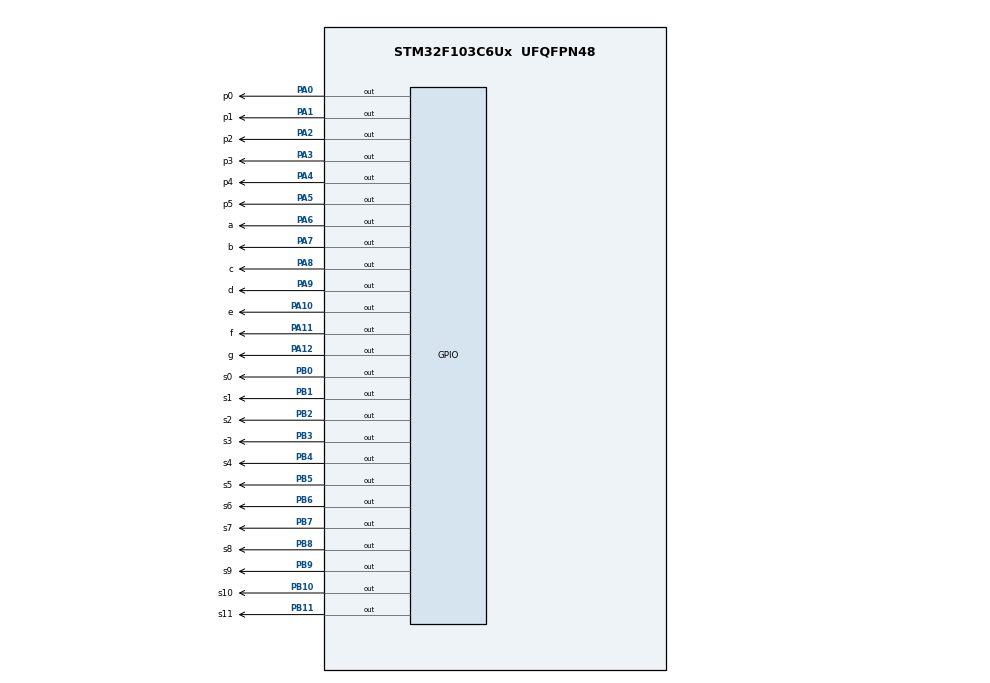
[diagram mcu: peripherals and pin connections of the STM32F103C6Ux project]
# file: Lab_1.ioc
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Mcu.Family=STM32F1
Mcu.Name=STM32F103C6Ux
Mcu.Package=UFQFPN48
NVIC.PriorityGroup=NVIC_PRIORITYGROUP_4
PA0-WKUP.GPIO_Label=p0
PA0-WKUP.Signal=GPIO_Output
PA1.GPIO_Label=p1
PA1.Signal=GPIO_Output
PA10.GPIO_Label=e
PA10.Signal=GPIO_Output
PA11.GPIO_Label=f
PA11.Signal=GPIO_Output
PA12.GPIO_Label=g
PA12.Signal=GPIO_Output
PA2.GPIO_Label=p2
PA2.Signal=GPIO_Output
PA3.GPIO_Label=p3
PA3.Signal=GPIO_Output
PA4.GPIO_Label=p4
PA4.Signal=GPIO_Output
PA5.GPIO_Label=p5
PA5.Signal=GPIO_Output
PA6.GPIO_Label=a
PA6.Signal=GPIO_Output
PA7.GPIO_Label=b
PA7.Signal=GPIO_Output
PA8.GPIO_Label=c
PA8.Signal=GPIO_Output
PA9.GPIO_Label=d
PA9.Signal=GPIO_Output
PB0.GPIO_Label=s0
PB0.Signal=GPIO_Output
PB1.GPIO_Label=s1
PB1.Signal=GPIO_Output
PB10.GPIO_Label=s10
PB10.Signal=GPIO_Output
PB11.GPIO_Label=s11
PB11.Signal=GPIO_Output
PB2.GPIO_Label=s2
PB2.Signal=GPIO_Output
PB3.GPIO_Label=s3
PB3.Signal=GPIO_Output
PB4.GPIO_Label=s4
PB4.Signal=GPIO_Output
PB5.GPIO_Label=s5
PB5.Signal=GPIO_Output
PB6.GPIO_Label=s6
PB6.Signal=GPIO_Output
PB7.GPIO_Label=s7
PB7.Signal=GPIO_Output
PB8.GPIO_Label=s8
PB8.Signal=GPIO_Output
PB9.GPIO_Label=s9
PB9.Signal=GPIO_Output
ProjectManager.HeapSize=0x200
ProjectManager.StackSize=0x400
ProjectManager.TargetToolchain=STM32CubeIDE
RCC.APB1Freq_Value=8000000
RCC.APB2Freq_Value=8000000
VP_SYS_VS_ND.Mode=No_Debug
board=custom

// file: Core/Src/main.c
/* USER CODE BEGIN Header */
/**
  ******************************************************************************
  * @file           : main.c
  * @brief          : Main program body
  ******************************************************************************
  * @attention
  *
  * <h2><center>&copy; Copyright (c) 2025 STMicroelectronics.
  * All rights reserved.</center></h2>
  *
  * This software component is licensed by ST under BSD 3-Clause license,
  * the "License"; You may not use this file except in compliance with the
  * License. You may obtain a copy of the License at:
  *                        opensource.org/licenses/BSD-3-Clause
  *
  ******************************************************************************
  */
/* USER CODE END Header */
#include "main.h"

/* USER CODE BEGIN PV */
int cforR;
int cforY;
int cforG;
int Ex1Counter = 2;
int RED_STATE = 1;
int YELLOW_STATE = 0;
int GREEN_STATE = 0;
int S1state = 1, S2state = 0, S3state = 0, S4state = 0;
int cforS1, cforS2, cforS3, cforS4;
int cforRed = 0;
int count;
/* USER CODE END PV */

void SystemClock_Config(void);
static void MX_GPIO_Init(void);
/* USER CODE BEGIN PFP */
void Switch_State();
void display7SEG(int count);
void Traffic_Light_1way(int REDCOUNTER, int YELLOWCOUNTER, int GREENCOUNTER);
void Traffic_Light_4way(int S1COUNTER, int S2COUNTER, int S3COUNTER, int S4COUNTER);
void Analog_Clock();
void clearAllClock();
void setNumberOnClock(int num);
void clearNumberOnClock(int num);
void displayClock(int hour, int minute, int second);
/* USER CODE END PFP */

/* USER CODE BEGIN 0 */
void displayClock(int hour, int minute, int second){
	clearAllClock();
	int a = hour % 12;
	int b = (minute/5) % 12;
	int c = (second/5) % 12;
	setNumberOnClock(a);
	setNumberOnClock(b);
	setNumberOnClock(c);
}
void setNumberOnClock(int num){
	if(num < 0 || num > 11){
		return;
	}
	GPIOB->ODR |= (1<<num);
}
void clearNumberOnClock(int num){
	if(num < 0 || num > 11){
		return;
	}
	GPIOB->ODR &= ~(1<<num);
}
void clearAllClock(){
	  HAL_GPIO_WritePin(s0_GPIO_Port, s0_Pin, RESET);
	  HAL_GPIO_WritePin(s1_GPIO_Port, s1_Pin, RESET);
	  HAL_GPIO_WritePin(s2_GPIO_Port, s2_Pin, RESET);
	  HAL_GPIO_WritePin(s3_GPIO_Port, s3_Pin, RESET);
	  HAL_GPIO_WritePin(s4_GPIO_Port, s4_Pin, RESET);
	  HAL_GPIO_WritePin(s5_GPIO_Port, s5_Pin, RESET);
	  HAL_GPIO_WritePin(s6_GPIO_Port, s6_Pin, RESET);
	  HAL_GPIO_WritePin(s7_GPIO_Port, s7_Pin, RESET);
	  HAL_GPIO_WritePin(s8_GPIO_Port, s8_Pin, RESET);
	  HAL_GPIO_WritePin(s9_GPIO_Port, s9_Pin, RESET);
	  HAL_GPIO_WritePin(s10_GPIO_Port, s10_Pin, RESET);
	  HAL_GPIO_WritePin(s11_GPIO_Port, s11_Pin, RESET);
}
void Switch_State(){
	//Convention: Red: p0 | Yellow: p1
	if(Ex1Counter <= 0){
		if(RED_STATE == 1){
		HAL_GPIO_WritePin(p0_GPIO_Port, p0_Pin, SET);
		HAL_GPIO_WritePin(p1_GPIO_Port, p1_Pin, RESET);
		}
		else if(YELLOW_STATE == 1){
		HAL_GPIO_WritePin(p0_GPIO_Port, p0_Pin, RESET);
		HAL_GPIO_WritePin(p1_GPIO_Port, p1_Pin, SET);
		}
	//Change State
		RED_STATE = !RED_STATE;
		YELLOW_STATE = !YELLOW_STATE;
	//Update Counter
		Ex1Counter = 2;
	}
	//Decrease Counter
	Ex1Counter--;
	HAL_Delay(1000);
}
void Analog_Clock(){
	  // Lam` sang den tai vi tri count
	  GPIOB->ODR = (1 << count);
	  // update count
	  count = (count + 1) % 12;
	  HAL_Delay(1000);
}
void display7SEG(int count){
	switch(count){
		case 0:
	  		  HAL_GPIO_WritePin(a_GPIO_Port, a_Pin, RESET);
	  		  HAL_GPIO_WritePin(b_GPIO_Port, b_Pin, RESET);
	  		  HAL_GPIO_WritePin(c_GPIO_Port, c_Pin, RESET);
	  		  HAL_GPIO_WritePin(d_GPIO_Port, d_Pin, RESET);
	  		  HAL_GPIO_WritePin(e_GPIO_Port, e_Pin, RESET);
	  		  HAL_GPIO_WritePin(f_GPIO_Port, f_Pin, RESET);
	  		  HAL_GPIO_WritePin(g_GPIO_Port, g_Pin, SET);
	  		  break;
	  	case 1:
	  		  HAL_GPIO_WritePin(a_GPIO_Port, a_Pin, SET);
	  		  HAL_GPIO_WritePin(b_GPIO_Port, b_Pin, RESET);
	  		  HAL_GPIO_WritePin(c_GPIO_Port, c_Pin, RESET);
	  		  HAL_GPIO_WritePin(d_GPIO_Port, d_Pin, SET);
	  		  HAL_GPIO_WritePin(e_GPIO_Port, e_Pin, SET);
	  		  HAL_GPIO_WritePin(f_GPIO_Port, f_Pin, SET);
	  		  HAL_GPIO_WritePin(g_GPIO_Port, g_Pin, SET);
	  		  break;
	  	case 2:
	  		  HAL_GPIO_WritePin(a_GPIO_Port, a_Pin, RESET);
	  		  HAL_GPIO_WritePin(b_GPIO_Port, b_Pin, RESET);
	  		  HAL_GPIO_WritePin(c_GPIO_Port, c_Pin, SET);
	  		  HAL_GPIO_WritePin(d_GPIO_Port, d_Pin, RESET);
	  		  HAL_GPIO_WritePin(e_GPIO_Port, e_Pin, RESET);
	  		  HAL_GPIO_WritePin(f_GPIO_Port, f_Pin, SET);
	  		  HAL_GPIO_WritePin(g_GPIO_Port, g_Pin, RESET);
	  		  break;
	  	case 3:
	  		  HAL_GPIO_WritePin(a_GPIO_Port, a_Pin, RESET);
	  		  HAL_GPIO_WritePin(b_GPIO_Port, b_Pin, RESET);
	  		  HAL_GPIO_WritePin(c_GPIO_Port, c_Pin, RESET);
	  		  HAL_GPIO_WritePin(d_GPIO_Port, d_Pin, RESET);
	  		  HAL_GPIO_WritePin(e_GPIO_Port, e_Pin, SET);
	  		  HAL_GPIO_WritePin(f_GPIO_Port, f_Pin, SET);
	  		  HAL_GPIO_WritePin(g_GPIO_Port, g_Pin, RESET);
	  		  break;
	  	case 4:
	  		  HAL_GPIO_WritePin(a_GPIO_Port, a_Pin, SET);
	  		  HAL_GPIO_WritePin(b_GPIO_Port, b_Pin, RESET);
	  		  HAL_GPIO_WritePin(c_GPIO_Port, c_Pin, RESET);
	  		  HAL_GPIO_WritePin(d_GPIO_Port, d_Pin, SET);
	  		  HAL_GPIO_WritePin(e_GPIO_Port, e_Pin, SET);
	  		  HAL_GPIO_WritePin(f_GPIO_Port, f_Pin, RESET);
	  		  HAL_GPIO_WritePin(g_GPIO_Port, g_Pin, RESET);
	  		  break;
	  	case 5:
	  		  HAL_GPIO_WritePin(a_GPIO_Port, a_Pin, RESET);
	  		  HAL_GPIO_WritePin(b_GPIO_Port, b_Pin, SET);
	  		  HAL_GPIO_WritePin(c_GPIO_Port, c_Pin, RESET);
	  		  HAL_GPIO_WritePin(d_GPIO_Port, d_Pin, RESET);
	  		  HAL_GPIO_WritePin(e_GPIO_Port, e_Pin, SET);
	  		  HAL_GPIO_WritePin(f_GPIO_Port, f_Pin, RESET);
	  		  HAL_GPIO_WritePin(g_GPIO_Port, g_Pin, RESET);
	  		  break;
	  	case 6:
	  		  HAL_GPIO_WritePin(a_GPIO_Port, a_Pin, RESET);
	  		  HAL_GPIO_WritePin(b_GPIO_Port, b_Pin, SET);
	  		  HAL_GPIO_WritePin(c_GPIO_Port, c_Pin, RESET);
	  		  HAL_GPIO_WritePin(d_GPIO_Port, d_Pin, RESET);
	  		  HAL_GPIO_WritePin(e_GPIO_Port, e_Pin, RESET);
	  		  HAL_GPIO_WritePin(f_GPIO_Port, f_Pin, RESET);
	  		  HAL_GPIO_WritePin(g_GPIO_Port, g_Pin, RESET);
	  		  break;
	  	case 7:
	  		  HAL_GPIO_WritePin(a_GPIO_Port, a_Pin, RESET);
	  		  HAL_GPIO_WritePin(b_GPIO_Port, b_Pin, RESET);
	  		  HAL_GPIO_WritePin(c_GPIO_Port, c_Pin, RESET);
	  		  HAL_GPIO_WritePin(d_GPIO_Port, d_Pin, SET);
	  		  HAL_GPIO_WritePin(e_GPIO_Port, e_Pin, SET);
	  		  HAL_GPIO_WritePin(f_GPIO_Port, f_Pin, SET);
	  		  HAL_GPIO_WritePin(g_GPIO_Port, g_Pin, SET);
	  		  break;
	  	case 8:
	  		  HAL_GPIO_WritePin(a_GPIO_Port, a_Pin, RESET);
	  		  HAL_GPIO_WritePin(b_GPIO_Port, b_Pin, RESET);
	  		  HAL_GPIO_WritePin(c_GPIO_Port, c_Pin, RESET);
	  		  HAL_GPIO_WritePin(d_GPIO_Port, d_Pin, RESET);
	  		  HAL_GPIO_WritePin(e_GPIO_Port, e_Pin, RESET);
	  		  HAL_GPIO_WritePin(f_GPIO_Port, f_Pin, RESET);
	  		  HAL_GPIO_WritePin(g_GPIO_Port, g_Pin, RESET);
	  		  break;
	  	case 9:
	  		  HAL_GPIO_WritePin(a_GPIO_Port, a_Pin, RESET);
	  		  HAL_GPIO_WritePin(b_GPIO_Port, b_Pin, RESET);
	  		  HAL_GPIO_WritePin(c_GPIO_Port, c_Pin, RESET);
	  		  HAL_GPIO_WritePin(d_GPIO_Port, d_Pin, RESET);
	  		  HAL_GPIO_WritePin(e_GPIO_Port, e_Pin, SET);
	  		  HAL_GPIO_WritePin(f_GPIO_Port, f_Pin, RESET);
	  		  HAL_GPIO_WritePin(g_GPIO_Port, g_Pin, RESET);
	  		  break;
	  	}
}
void Traffic_Light_1way(int REDCOUNTER, int YELLOWCOUNTER, int GREENCOUNTER){
	//RED: p0, YELLOW: p1, GREEN: p2
	//RED_STATE
	  if(RED_STATE == 1 && cforR > 0){
		  HAL_GPIO_WritePin(p0_GPIO_Port, p0_Pin, RESET);
		  HAL_GPIO_WritePin(p1_GPIO_Port, p1_Pin, SET);
		  HAL_GPIO_WritePin(p2_GPIO_Port, p2_Pin, SET);
		  cforR--;
	  }
	  else if(cforR == 0){
		  GREEN_STATE = 1;
		  RED_STATE = 0;
		  cforR = REDCOUNTER;
	  }
	  //GREEN_STATE
	  if(GREEN_STATE == 1 && cforG > 0){
	  	  HAL_GPIO_WritePin(p0_GPIO_Port, p0_Pin, SET);
	      HAL_GPIO_WritePin(p2_GPIO_Port, p2_Pin, RESET);
	  	  HAL_GPIO_WritePin(p1_GPIO_Port, p1_Pin, SET);
	      cforG--;
	  }
	  else if(cforG == 0){
	  	  YELLOW_STATE = 1;
	  	  GREEN_STATE = 0;
	  	  cforG = GREENCOUNTER;
	  }
	  //YELLOW_STATE
	  if(YELLOW_STATE == 1 && cforY > 0){
	  	  HAL_GPIO_WritePin(p0_GPIO_Port, p0_Pin, SET);
	      HAL_GPIO_WritePin(p2_GPIO_Port, p2_Pin, SET);
	  	  HAL_GPIO_WritePin(p1_GPIO_Port, p1_Pin, RESET);
	      cforY--;
	  }
	  else if(cforY == 0){
	  	  RED_STATE = 1;
	  	  YELLOW_STATE = 0;
	  	  cforY = YELLOWCOUNTER;
	  }
	  HAL_Delay(1000);
}
void Traffic_Light_4way(int S1COUNTER, int S2COUNTER, int S3COUNTER, int S4COUNTER){
	  //State 1: GREEN-RED
	  if(S1state == 1 && cforS1 > 0){
		  //1
		  HAL_GPIO_WritePin(p2_GPIO_Port, p2_Pin, SET);
		  HAL_GPIO_WritePin(p1_GPIO_Port, p1_Pin, RESET);
		  HAL_GPIO_WritePin(p0_GPIO_Port, p0_Pin, RESET);
		  //2
		  HAL_GPIO_WritePin(p3_GPIO_Port, p3_Pin, SET);
		  HAL_GPIO_WritePin(p5_GPIO_Port, p5_Pin, RESET);
		  HAL_GPIO_WritePin(p4_GPIO_Port, p4_Pin, RESET);
		  cforS1--;
		  display7SEG(cforS1);
	  }
	  else if(cforS1 == 0){
		  S1state = 0;
		  S2state = 1;
		  cforS1 = S1COUNTER;
		  display7SEG(0);
	  }
	  //State 2: YELLOW-RED
	  if(S2state == 1 && cforS2 > 0){
		  //1
		  HAL_GPIO_WritePin(p2_GPIO_Port, p2_Pin, RESET);
		  HAL_GPIO_WritePin(p1_GPIO_Port, p1_Pin, SET);
		  HAL_GPIO_WritePin(p0_GPIO_Port, p0_Pin, RESET);
		  //2
		  HAL_GPIO_WritePin(p3_GPIO_Port, p3_Pin, SET);
		  HAL_GPIO_WritePin(p5_GPIO_Port, p5_Pin, RESET);
		  HAL_GPIO_WritePin(p4_GPIO_Port, p4_Pin, RESET);
		  cforS2--;
		  display7SEG(cforS2);
	  }
	  else if(cforS2 == 0){
		  S2state = 0;
		  S3state = 1;
		  cforS2 = S2COUNTER;
		  display7SEG(0);
		  cforRed = cforS3 + cforS4;
	  }
	  //State 3: RED-GREEN
	  if(S3state == 1 && cforS3 > 0){
		  //1
		  HAL_GPIO_WritePin(p2_GPIO_Port, p2_Pin, RESET);
		  HAL_GPIO_WritePin(p1_GPIO_Port, p1_Pin, RESET);
		  HAL_GPIO_WritePin(p0_GPIO_Port, p0_Pin, SET);
		  //2
		  HAL_GPIO_WritePin(p3_GPIO_Port, p3_Pin, RESET);
		  HAL_GPIO_WritePin(p5_GPIO_Port, p5_Pin, SET);
		  HAL_GPIO_WritePin(p4_GPIO_Port, p4_Pin, RESET);
		  cforS3--;
		  cforRed--;
		  display7SEG(cforRed);
	  }
	  else if(cforS3 == 0){
		  S3state = 0;
		  S4state = 1;
		  cforS3 = S3COUNTER;
		  display7SEG(0);
	  }
	  //State 4: RED-YELLOW
	  if(S4state == 1 && cforS4 != 0){
		  //1
		  HAL_GPIO_WritePin(p2_GPIO_Port, p2_Pin, RESET);
		  HAL_GPIO_WritePin(p1_GPIO_Port, p1_Pin, RESET);
		  HAL_GPIO_WritePin(p0_GPIO_Port, p0_Pin, SET);
		  //2
		  HAL_GPIO_WritePin(p3_GPIO_Port, p3_Pin, RESET);
		  HAL_GPIO_WritePin(p5_GPIO_Port, p5_Pin, RESET);
		  HAL_GPIO_WritePin(p4_GPIO_Port, p4_Pin, SET);
		  cforS4--;
		  cforRed--;
		  display7SEG(cforRed);
	  }
	  else if(cforS4 == 0){
		  S4state = 0;
		  S1state = 1;
		  cforS4 = S4COUNTER;
		  return;
	  }
	  HAL_Delay(1000);
}
/* USER CODE END 0 */

int main(void)
{

  /* MCU Configuration--------------------------------------------------------*/

  /* Reset of all peripherals, Initializes the Flash interface and the Systick. */
  HAL_Init();

  /* Configure the system clock */
  SystemClock_Config();

  /* Initialize all configured peripherals */
  MX_GPIO_Init();
  /* USER CODE BEGIN 2 */

  //Default State for Ex1:
  /*HAL_GPIO_WritePin(p0_GPIO_Port, p0_Pin, RESET);
  HAL_GPIO_WritePin(p1_GPIO_Port, p1_Pin, SET);*/

  //Default Counter for Ex2:
  /*cforR = 5;
  cforY = 2;
  cforG = 3;*/

  //Display Led: 9 8 7 ....
  //int cfor7segment = 9;

  //Default Counter for Ex3, 4, 5:
  /*cforS1 = 3;
  cforS2 = 2;
  cforS3 = 3;
  cforS4 = 2;*/

  //Count for Ex6:
  //count = 0;

  //Clearcount for Ex7:
  //int c1 = 3;

  //Example for Ex10:
  /*int hour = 6;
  int minute = 54;
  int second = 55;*/

  /* USER CODE END 2 */

  /* Infinite loop */
  /* USER CODE BEGIN WHILE */
  while (1)
  {
	  //Ex1:
	  //Switch_State();

	  //Ex2:
	  //Traffic_Light_1way(5, 2, 3);

	  //Ex4:
	  /*display7SEG(cfor7segment);
	  cfor7segment--;
	  if(cfor7segment < 0){
		  cfor7segment = 9;
	  }
	  HAL_Delay(1000);*/

	  //Ex3, 4, 5:
	  //Traffic_Light_4way(3, 2, 3, 2);

	  //Ex6:
	  //Analog_Clock();

	  //Ex7:
	  /*c1--;
	  if(c1 >= 0){
		  setNumberOnClock(1);
		  setNumberOnClock(3);
		  setNumberOnClock(5);
		  setNumberOnClock(7);
		  setNumberOnClock(9);
		  setNumberOnClock(11);
	  } else clearAllClock();
	  HAL_Delay(1000);*/

	  //Ex10
	  /*displayClock(hour, minute, second);
	  HAL_Delay(1000);
	  second++;
	  if(second == 60){
		  second = 0;
		  minute++;
	  }
	  if(minute == 60){
		  minute = 0;
		  hour++;
	  }
	  if(hour == 24){
		  hour = 0;
	  }*/
    /* USER CODE END WHILE */

  }
}

void SystemClock_Config(void)
{
  RCC_OscInitTypeDef RCC_OscInitStruct = {0};
  RCC_ClkInitTypeDef RCC_ClkInitStruct = {0};

  /** Initializes the RCC Oscillators according to the specified parameters
  * in the RCC_OscInitTypeDef structure.
  */
  RCC_OscInitStruct.OscillatorType = RCC_OSCILLATORTYPE_HSI;
  RCC_OscInitStruct.HSIState = RCC_HSI_ON;
  RCC_OscInitStruct.HSICalibrationValue = RCC_HSICALIBRATION_DEFAULT;
  RCC_OscInitStruct.PLL.PLLState = RCC_PLL_NONE;
  if (HAL_RCC_OscConfig(&RCC_OscInitStruct) != HAL_OK)
  {
    Error_Handler();
  }
  /** Initializes the CPU, AHB and APB buses clocks
  */
  RCC_ClkInitStruct.ClockType = RCC_CLOCKTYPE_HCLK|RCC_CLOCKTYPE_SYSCLK
                              |RCC_CLOCKTYPE_PCLK1|RCC_CLOCKTYPE_PCLK2;
  RCC_ClkInitStruct.SYSCLKSource = RCC_SYSCLKSOURCE_HSI;
  RCC_ClkInitStruct.AHBCLKDivider = RCC_SYSCLK_DIV1;
  RCC_ClkInitStruct.APB1CLKDivider = RCC_HCLK_DIV1;
  RCC_ClkInitStruct.APB2CLKDivider = RCC_HCLK_DIV1;

  if (HAL_RCC_ClockConfig(&RCC_ClkInitStruct, FLASH_LATENCY_0) != HAL_OK)
  {
    Error_Handler();
  }
}

static void MX_GPIO_Init(void)
{
  GPIO_InitTypeDef GPIO_InitStruct = {0};

  /* GPIO Ports Clock Enable */
  __HAL_RCC_GPIOA_CLK_ENABLE();
  __HAL_RCC_GPIOB_CLK_ENABLE();

  /*Configure GPIO pin Output Level */
  HAL_GPIO_WritePin(GPIOA, p0_Pin|p1_Pin|p2_Pin|p3_Pin
                          |p4_Pin|p5_Pin|a_Pin|b_Pin
                          |c_Pin|d_Pin|e_Pin|f_Pin
                          |g_Pin, GPIO_PIN_RESET);

  /*Configure GPIO pin Output Level */
  HAL_GPIO_WritePin(GPIOB, s0_Pin|s1_Pin|s2_Pin|s10_Pin
                          |s11_Pin|s3_Pin|s4_Pin|s5_Pin
                          |s6_Pin|s7_Pin|s8_Pin|s9_Pin, GPIO_PIN_RESET);

  /*Configure GPIO pins : p0_Pin p1_Pin p2_Pin p3_Pin
                           p4_Pin p5_Pin a_Pin b_Pin
                           c_Pin d_Pin e_Pin f_Pin
                           g_Pin */
  GPIO_InitStruct.Pin = p0_Pin|p1_Pin|p2_Pin|p3_Pin
                          |p4_Pin|p5_Pin|a_Pin|b_Pin
                          |c_Pin|d_Pin|e_Pin|f_Pin
                          |g_Pin;
  GPIO_InitStruct.Mode = GPIO_MODE_OUTPUT_PP;
  GPIO_InitStruct.Pull = GPIO_NOPULL;
  GPIO_InitStruct.Speed = GPIO_SPEED_FREQ_LOW;
  HAL_GPIO_Init(GPIOA, &GPIO_InitStruct);

  /*Configure GPIO pins : s0_Pin s1_Pin s2_Pin s10_Pin
                           s11_Pin s3_Pin s4_Pin s5_Pin
                           s6_Pin s7_Pin s8_Pin s9_Pin */
  GPIO_InitStruct.Pin = s0_Pin|s1_Pin|s2_Pin|s10_Pin
                          |s11_Pin|s3_Pin|s4_Pin|s5_Pin
                          |s6_Pin|s7_Pin|s8_Pin|s9_Pin;
  GPIO_InitStruct.Mode = GPIO_MODE_OUTPUT_PP;
  GPIO_InitStruct.Pull = GPIO_NOPULL;
  GPIO_InitStruct.Speed = GPIO_SPEED_FREQ_LOW;
  HAL_GPIO_Init(GPIOB, &GPIO_InitStruct);

}

void Error_Handler(void)
{
  __disable_irq();
  while (1)
  {
  }
}

/************************ (C) COPYRIGHT STMicroelectronics *****END OF FILE****/
